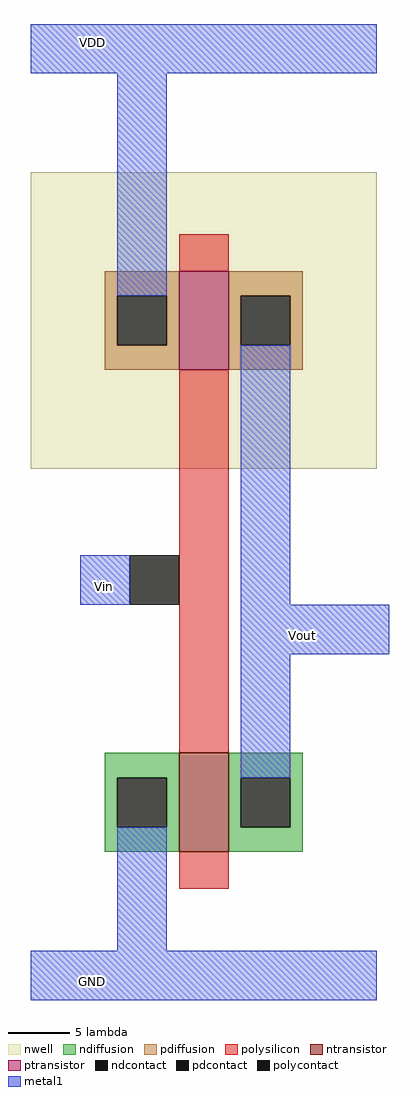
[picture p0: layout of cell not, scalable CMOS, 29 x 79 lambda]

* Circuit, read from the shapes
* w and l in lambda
.subckt not GND VDD Vin Vout
M1 Vout Vin GND VSUBS nfet w=8 l=4
M2 Vout Vin VDD n1 pfet w=8 l=4
.ends

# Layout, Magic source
magic
tech scmos
<< nwell >>
rect -2 0 26 24
<< ntransistor >>
rect 10 -31 14 -23
<< ptransistor >>
rect 10 8 14 16
<< ndiffusion >>
rect 4 -25 10 -23
rect 4 -29 5 -25
rect 9 -29 10 -25
rect 4 -31 10 -29
rect 14 -25 20 -23
rect 14 -29 15 -25
rect 19 -29 20 -25
rect 14 -31 20 -29
<< pdiffusion >>
rect 4 14 10 16
rect 4 10 5 14
rect 9 10 10 14
rect 4 8 10 10
rect 14 14 20 16
rect 14 10 15 14
rect 19 10 20 14
rect 14 8 20 10
<< ndcontact >>
rect 5 -29 9 -25
rect 15 -29 19 -25
<< pdcontact >>
rect 5 10 9 14
rect 15 10 19 14
<< polysilicon >>
rect 10 16 14 19
rect 10 -23 14 8
rect 10 -34 14 -31
<< polycontact >>
rect 6 -11 10 -7
<< metal1 >>
rect -2 32 26 36
rect 5 14 9 32
rect 2 -11 6 -7
rect 15 -11 19 10
rect 15 -15 27 -11
rect 15 -25 19 -15
rect 5 -39 9 -29
rect -2 -43 26 -39
<< labels >>
rlabel metal1 3 -10 5 -9 1 Vin
rlabel metal1 19 -14 21 -13 1 Vout
rlabel metal1 2 34 4 35 4 VDD
rlabel metal1 2 -42 4 -41 2 GND
<< end >>
